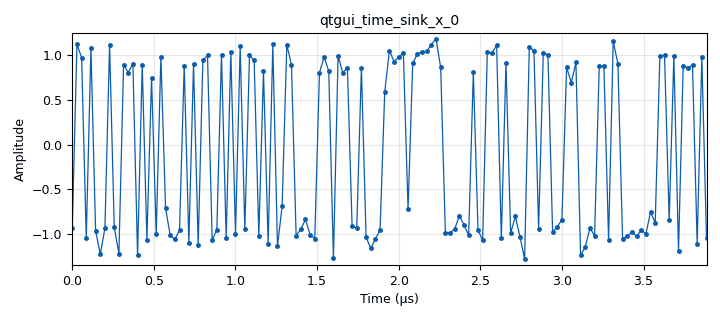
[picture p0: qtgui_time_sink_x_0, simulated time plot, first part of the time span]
<?xml version='1.0' encoding='utf-8'?>
<?grc format='1' created='3.7.8rc1'?>
<flow_graph>
<block>
<key>options</key>
<param><key>id</key><value>ber_test</value></param>
<param><key>category</key><value>Custom</value></param>
<param><key>generate_options</key><value>qt_gui</value></param>
<param><key>title</key><value>simple BER test</value></param>
</block>
<block>
<key>variable</key>
<param><key>id</key><value>berminerrs</value></param>
<param><key>value</key><value>100</value></param>
</block>
<block>
<key>variable_cc_decoder_def</key>
<param><key>id</key><value>dec</value></param>
<param><key>padding</key><value>False</value></param>
<param><key>k</key><value>k</value></param>
<param><key>dim1</key><value>1</value></param>
<param><key>state_end</key><value>-1</value></param>
<param><key>framebits</key><value>framebits</value></param>
<param><key>ndim</key><value>1</value></param>
<param><key>polys</key><value>polys</value></param>
<param><key>rate</key><value>rate</value></param>
<param><key>state_start</key><value>0</value></param>
<param><key>mode</key><value>fec.CC_STREAMING</value></param>
</block>
<block>
<key>variable_cc_encoder_def</key>
<param><key>id</key><value>enc</value></param>
<param><key>padding</key><value>False</value></param>
<param><key>k</key><value>k</value></param>
<param><key>dim1</key><value>1</value></param>
<param><key>framebits</key><value>framebits</value></param>
<param><key>ndim</key><value>1</value></param>
<param><key>polys</key><value>polys</value></param>
<param><key>rate</key><value>rate</value></param>
<param><key>state_start</key><value>0</value></param>
<param><key>mode</key><value>fec.CC_STREAMING</value></param>
</block>
<block>
<key>variable_qtgui_range</key>
<param><key>id</key><value>esno</value></param>
<param><key>value</key><value>15</value></param>
<param><key>label</key><value>EsN0</value></param>
<param><key>orient</key><value>Qt.Orientation.Horizontal</value></param>
<param><key>start</key><value>0</value></param>
<param><key>step</key><value>0.25</value></param>
<param><key>stop</key><value>15</value></param>
</block>
<block>
<key>variable</key>
<param><key>id</key><value>framebits</value></param>
<param><key>value</key><value>4096</value></param>
</block>
<block>
<key>variable</key>
<param><key>id</key><value>k</value></param>
<param><key>value</key><value>7</value></param>
</block>
<block>
<key>variable</key>
<param><key>id</key><value>noise</value></param>
<param><key>value</key><value>numpy.sqrt((10.0**(-esno/10.0))/2.0)</value></param>
</block>
<block>
<key>variable</key>
<param><key>id</key><value>polys</value></param>
<param><key>value</key><value>[79, 109]</value></param>
</block>
<block>
<key>variable</key>
<param><key>id</key><value>puncpat</value></param>
<param><key>value</key><value>'11'</value></param>
</block>
<block>
<key>variable</key>
<param><key>id</key><value>rate</value></param>
<param><key>value</key><value>2</value></param>
</block>
<block>
<key>variable</key>
<param><key>id</key><value>samp_rate</value></param>
<param><key>value</key><value>35000000</value></param>
</block>
<block>
<key>analog_fastnoise_source_x</key>
<param><key>id</key><value>analog_fastnoise_source_x_0</value></param>
<param><key>amp</key><value>noise</value></param>
<param><key>noise_type</key><value>analog.GR_GAUSSIAN</value></param>
<param><key>type</key><value>float</value></param>
<param><key>seed</key><value>0</value></param>
<param><key>samples</key><value>8192</value></param>
</block>
<block>
<key>analog_random_source_x</key>
<param><key>id</key><value>analog_random_source_x_0</value></param>
<param><key>max</key><value>256</value></param>
<param><key>min</key><value>0</value></param>
<param><key>num_samps</key><value>1000</value></param>
<param><key>type</key><value>byte</value></param>
<param><key>repeat</key><value>True</value></param>
</block>
<block>
<key>blocks_add_xx</key>
<param><key>id</key><value>blocks_add_xx_0</value></param>
<param><key>type</key><value>float</value></param>
</block>
<block>
<key>blocks_char_to_float</key>
<param><key>id</key><value>blocks_char_to_float_1</value></param>
<param><key>scale</key><value>1</value></param>
</block>
<block>
<key>blocks_pack_k_bits_bb</key>
<param><key>id</key><value>blocks_pack_k_bits_bb_0</value></param>
<param><key>k</key><value>8</value></param>
</block>
<block>
<key>blocks_throttle</key>
<param><key>id</key><value>blocks_throttle_0</value></param>
<param><key>samples_per_second</key><value>samp_rate</value></param>
<param><key>type</key><value>byte</value></param>
</block>
<block>
<key>blocks_unpack_k_bits_bb</key>
<param><key>id</key><value>blocks_unpack_k_bits_bb_0</value></param>
<param><key>k</key><value>8</value></param>
</block>
<block>
<key>digital_map_bb</key>
<param><key>id</key><value>digital_map_bb_0</value></param>
<param><key>map</key><value>[-1, 1]</value></param>
</block>
<block>
<key>fec_ber_bf</key>
<param><key>id</key><value>fec_ber_bf_0</value></param>
<param><key>berminerrors</key><value>berminerrs</value></param>
<param><key>test_mode</key><value>False</value></param>
</block>
<block>
<key>fec_extended_decoder</key>
<param><key>id</key><value>fec_extended_decoder_0</value></param>
<param><key>decoder_list</key><value>dec</value></param>
<param><key>puncpat</key><value>puncpat</value></param>
<param><key>threadtype</key><value>none</value></param>
</block>
<block>
<key>fec_extended_encoder</key>
<param><key>id</key><value>fec_extended_encoder_0</value></param>
<param><key>encoder_list</key><value>enc</value></param>
<param><key>puncpat</key><value>puncpat</value></param>
<param><key>threadtype</key><value>capillary</value></param>
</block>
<block>
<key>qtgui_number_sink</key>
<param><key>id</key><value>qtgui_number_sink_0</value></param>
<param><key>autoscale</key><value>True</value></param>
<param><key>graph_type</key><value>qtgui.NUM_GRAPH_HORIZ</value></param>
<param><key>type</key><value>float</value></param>
<param><key>color1</key><value>("blue", "red")</value></param>
<param><key>label1</key><value>BER</value></param>
<param><key>max</key><value>10</value></param>
<param><key>min</key><value>-10</value></param>
</block>
<block>
<key>qtgui_time_sink_x</key>
<param><key>id</key><value>qtgui_time_sink_x_0</value></param>
<param><key>legend</key><value>False</value></param>
<param><key>alpha1</key><value>0.5</value></param>
<param><key>color1</key><value>"blue"</value></param>
<param><key>label1</key><value></value></param>
<param><key>marker1</key><value>0</value></param>
<param><key>style1</key><value>3</value></param>
<param><key>name</key><value></value></param>
<param><key>size</key><value>1024</value></param>
<param><key>srate</key><value>samp_rate</value></param>
<param><key>type</key><value>float</value></param>
<param><key>ymax</key><value>1.25</value></param>
<param><key>ymin</key><value>-1.25</value></param>
</block>
<connection><source_block_id>analog_fastnoise_source_x_0</source_block_id><sink_block_id>blocks_add_xx_0</sink_block_id><source_key>0</source_key><sink_key>0</sink_key></connection>
<connection><source_block_id>analog_random_source_x_0</source_block_id><sink_block_id>blocks_throttle_0</sink_block_id><source_key>0</source_key><sink_key>0</sink_key></connection>
<connection><source_block_id>blocks_add_xx_0</source_block_id><sink_block_id>fec_extended_decoder_0</sink_block_id><source_key>0</source_key><sink_key>0</sink_key></connection>
<connection><source_block_id>blocks_add_xx_0</source_block_id><sink_block_id>qtgui_time_sink_x_0</sink_block_id><source_key>0</source_key><sink_key>0</sink_key></connection>
<connection><source_block_id>blocks_char_to_float_1</source_block_id><sink_block_id>blocks_add_xx_0</sink_block_id><source_key>0</source_key><sink_key>1</sink_key></connection>
<connection><source_block_id>blocks_pack_k_bits_bb_0</source_block_id><sink_block_id>fec_ber_bf_0</sink_block_id><source_key>0</source_key><sink_key>0</sink_key></connection>
<connection><source_block_id>blocks_throttle_0</source_block_id><sink_block_id>blocks_unpack_k_bits_bb_0</sink_block_id><source_key>0</source_key><sink_key>0</sink_key></connection>
<connection><source_block_id>blocks_throttle_0</source_block_id><sink_block_id>fec_ber_bf_0</sink_block_id><source_key>0</source_key><sink_key>1</sink_key></connection>
<connection><source_block_id>blocks_unpack_k_bits_bb_0</source_block_id><sink_block_id>fec_extended_encoder_0</sink_block_id><source_key>0</source_key><sink_key>0</sink_key></connection>
<connection><source_block_id>digital_map_bb_0</source_block_id><sink_block_id>blocks_char_to_float_1</sink_block_id><source_key>0</source_key><sink_key>0</sink_key></connection>
<connection><source_block_id>fec_ber_bf_0</source_block_id><sink_block_id>qtgui_number_sink_0</sink_block_id><source_key>0</source_key><sink_key>0</sink_key></connection>
<connection><source_block_id>fec_extended_decoder_0</source_block_id><sink_block_id>blocks_pack_k_bits_bb_0</sink_block_id><source_key>0</source_key><sink_key>0</sink_key></connection>
<connection><source_block_id>fec_extended_encoder_0</source_block_id><sink_block_id>digital_map_bb_0</sink_block_id><source_key>0</source_key><sink_key>0</sink_key></connection>
</flow_graph>
